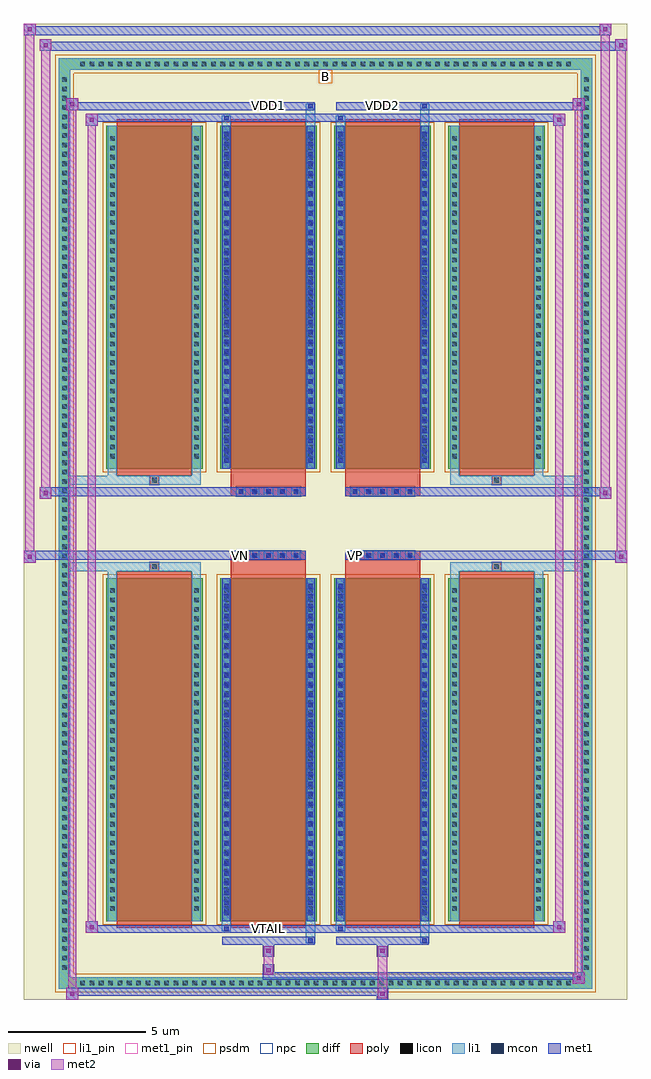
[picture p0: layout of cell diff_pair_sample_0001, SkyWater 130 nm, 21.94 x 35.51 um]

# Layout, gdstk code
import gdstk
lib = gdstk.Library(unit=1e-6, precision=5e-09)
def R(c, l, rs):  # rectangles x0, y0, x1, y1
    for r in rs: c.add(gdstk.rectangle(r[:2], r[2:], *l))
def A(c, l, x, y, w, h, nx, ny, dx, dy):  # array of equal rectangles
    R(c, l, [(x+i*dx, y+j*dy, x+i*dx+w, y+j*dy+h) for i in range(nx) for j in range(ny)])
def P(c, l, *ps):  # polygons
    for p in ps: c.add(gdstk.Polygon(p, *l))
nwell = (64, 20)
diff = (65, 20)
poly = (66, 20)
licon = (66, 44)
li1_pin = (67, 16)
li1 = (67, 20)
mcon = (67, 44)
met1_pin = (68, 16)
met1 = (68, 20)
via = (68, 44)
met2 = (69, 20)
psdm = (94, 20)
npc = (95, 20)

diff_pair_sample_0001 = lib.new_cell('diff_pair_sample_0001')
R(diff_pair_sample_0001, nwell, [(-10.97,-17.32,10.97,18.19), (-8.29,-15.51,-0.01,-0.795), (0.01,-15.51,8.29,-0.795), (-8.29,0.795,-0.01,15.51), (0.01,0.795,8.29,15.51)])
A(diff_pair_sample_0001, diff, -9.045, -16.92, 0.41, 0.41, 53, 2, 0.34, 33.43)
A(diff_pair_sample_0001, diff, -9.7, -16.355, 0.41, 0.41, 1, 96, 0, 0.34)
A(diff_pair_sample_0001, diff, 9.29, -16.355, 0.41, 0.41, 1, 96, 0, 0.34)
A(diff_pair_sample_0001, diff, -7.98, -14.465, 3.51, 12.48, 4, 2, 4.15, 16.45)
R(diff_pair_sample_0001, diff, [(-9.045,-16.92,9.045,-16.51), (-9.7,-16.355,-9.29,16.355), (9.29,-16.355,9.7,16.355), (-9.045,16.51,9.045,16.92)])
P(diff_pair_sample_0001, diff, [(9.7,16.92),(-9.7,16.92),(-9.7,-16.51),(-9.29,-16.51),(-9.29,16.51),(9.29,16.51),(9.29,-16.51),(-9.29,-16.51),(-9.7,-16.51),(-9.7,-16.92),(9.7,-16.92)])
A(diff_pair_sample_0001, poly, -7.59, -14.715, 2.73, 12.98, 4, 2, 4.15, 16.45)
A(diff_pair_sample_0001, poly, -3.24, -1.325, 0.33, 0.33, 5, 2, 0.5, 2.32)
A(diff_pair_sample_0001, poly, 0.91, -1.325, 0.33, 0.33, 5, 2, 0.5, 2.32)
R(diff_pair_sample_0001, poly, [(-6.39,-1.735,-6.06,-1.405), (-6.39,-1.735,-6.06,-1.405), (-3.44,-1.735,-0.71,-1.325), (0.71,-1.735,3.44,-1.325), (6.06,-1.735,6.39,-1.405), (6.06,-1.735,6.39,-1.405), (-3.44,-1.325,-0.71,-0.995), (0.71,-1.325,3.44,-0.995), (-3.44,0.995,-0.71,1.325), (0.71,0.995,3.44,1.325), (-3.44,1.325,-0.71,1.735), (0.71,1.325,3.44,1.735), (-6.39,1.405,-6.06,1.735), (-6.39,1.405,-6.06,1.735), (6.06,1.405,6.39,1.735), (6.06,1.405,6.39,1.735)])
A(diff_pair_sample_0001, licon, -8.925, -16.8, 0.17, 0.17, 53, 2, 0.34, 33.43)
A(diff_pair_sample_0001, licon, -9.58, -16.235, 0.17, 0.17, 1, 96, 0, 0.34)
A(diff_pair_sample_0001, licon, 9.41, -16.235, 0.17, 0.17, 1, 96, 0, 0.34)
A(diff_pair_sample_0001, licon, -7.84, -14.09, 0.17, 0.17, 1, 35, 0, 0.34)
A(diff_pair_sample_0001, licon, -4.78, -14.09, 0.17, 0.17, 1, 35, 0, 0.34)
A(diff_pair_sample_0001, licon, -3.69, -14.09, 0.17, 0.17, 1, 35, 0, 0.34)
A(diff_pair_sample_0001, licon, -0.63, -14.09, 0.17, 0.17, 1, 35, 0, 0.34)
A(diff_pair_sample_0001, licon, 0.46, -14.09, 0.17, 0.17, 1, 35, 0, 0.34)
A(diff_pair_sample_0001, licon, 3.52, -14.09, 0.17, 0.17, 1, 35, 0, 0.34)
A(diff_pair_sample_0001, licon, 4.61, -14.09, 0.17, 0.17, 1, 35, 0, 0.34)
A(diff_pair_sample_0001, licon, 7.67, -14.09, 0.17, 0.17, 1, 35, 0, 0.34)
A(diff_pair_sample_0001, licon, -3.16, -1.245, 0.17, 0.17, 5, 2, 0.5, 2.32)
A(diff_pair_sample_0001, licon, 0.99, -1.245, 0.17, 0.17, 5, 2, 0.5, 2.32)
A(diff_pair_sample_0001, licon, -7.84, 2.36, 0.17, 0.17, 1, 35, 0, 0.34)
A(diff_pair_sample_0001, licon, -4.78, 2.36, 0.17, 0.17, 1, 35, 0, 0.34)
A(diff_pair_sample_0001, licon, -3.69, 2.36, 0.17, 0.17, 1, 35, 0, 0.34)
A(diff_pair_sample_0001, licon, -0.63, 2.36, 0.17, 0.17, 1, 35, 0, 0.34)
A(diff_pair_sample_0001, licon, 0.46, 2.36, 0.17, 0.17, 1, 35, 0, 0.34)
A(diff_pair_sample_0001, licon, 3.52, 2.36, 0.17, 0.17, 1, 35, 0, 0.34)
A(diff_pair_sample_0001, licon, 4.61, 2.36, 0.17, 0.17, 1, 35, 0, 0.34)
A(diff_pair_sample_0001, licon, 7.67, 2.36, 0.17, 0.17, 1, 35, 0, 0.34)
R(diff_pair_sample_0001, licon, [(-6.31,-1.655,-6.14,-1.485), (6.14,-1.655,6.31,-1.485), (-6.31,1.485,-6.14,1.655), (6.14,1.485,6.31,1.655)])
R(diff_pair_sample_0001, li1_pin, [(-0.25,16.01,0.25,16.51)])
A(diff_pair_sample_0001, li1, -9.005, -16.88, 0.33, 0.33, 53, 2, 0.34, 33.43)
A(diff_pair_sample_0001, li1, -9.66, -16.315, 0.33, 0.33, 1, 96, 0, 0.34)
A(diff_pair_sample_0001, li1, 9.33, -16.315, 0.33, 0.33, 1, 96, 0, 0.34)
A(diff_pair_sample_0001, li1, -3.69, -14.25, 0.17, 0.17, 1, 34, 0, 0.36)
A(diff_pair_sample_0001, li1, -0.63, -14.25, 0.17, 0.17, 1, 34, 0, 0.36)
A(diff_pair_sample_0001, li1, 0.46, -14.25, 0.17, 0.17, 1, 34, 0, 0.36)
A(diff_pair_sample_0001, li1, 3.52, -14.25, 0.17, 0.17, 1, 34, 0, 0.36)
A(diff_pair_sample_0001, li1, -7.92, -14.17, 0.33, 0.33, 1, 35, 0, 0.34)
A(diff_pair_sample_0001, li1, -4.86, -14.17, 0.33, 0.33, 1, 35, 0, 0.34)
A(diff_pair_sample_0001, li1, -3.77, -14.17, 0.33, 0.33, 1, 35, 0, 0.34)
A(diff_pair_sample_0001, li1, -0.71, -14.17, 0.33, 0.33, 1, 35, 0, 0.34)
A(diff_pair_sample_0001, li1, 0.38, -14.17, 0.33, 0.33, 1, 35, 0, 0.34)
A(diff_pair_sample_0001, li1, 3.44, -14.17, 0.33, 0.33, 1, 35, 0, 0.34)
A(diff_pair_sample_0001, li1, 4.53, -14.17, 0.33, 0.33, 1, 35, 0, 0.34)
A(diff_pair_sample_0001, li1, 7.59, -14.17, 0.33, 0.33, 1, 35, 0, 0.34)
A(diff_pair_sample_0001, li1, -3.24, -1.325, 0.33, 0.33, 5, 2, 0.5, 2.32)
A(diff_pair_sample_0001, li1, 0.91, -1.325, 0.33, 0.33, 5, 2, 0.5, 2.32)
A(diff_pair_sample_0001, li1, -3.69, 2.2, 0.17, 0.17, 1, 34, 0, 0.36)
A(diff_pair_sample_0001, li1, -0.63, 2.2, 0.17, 0.17, 1, 34, 0, 0.36)
A(diff_pair_sample_0001, li1, 0.46, 2.2, 0.17, 0.17, 1, 34, 0, 0.36)
A(diff_pair_sample_0001, li1, 3.52, 2.2, 0.17, 0.17, 1, 34, 0, 0.36)
A(diff_pair_sample_0001, li1, -7.92, 2.28, 0.33, 0.33, 1, 35, 0, 0.34)
A(diff_pair_sample_0001, li1, -4.86, 2.28, 0.33, 0.33, 1, 35, 0, 0.34)
A(diff_pair_sample_0001, li1, -3.77, 2.28, 0.33, 0.33, 1, 35, 0, 0.34)
A(diff_pair_sample_0001, li1, -0.71, 2.28, 0.33, 0.33, 1, 35, 0, 0.34)
A(diff_pair_sample_0001, li1, 0.38, 2.28, 0.33, 0.33, 1, 35, 0, 0.34)
A(diff_pair_sample_0001, li1, 3.44, 2.28, 0.33, 0.33, 1, 35, 0, 0.34)
A(diff_pair_sample_0001, li1, 4.53, 2.28, 0.33, 0.33, 1, 35, 0, 0.34)
A(diff_pair_sample_0001, li1, 7.59, 2.28, 0.33, 0.33, 1, 35, 0, 0.34)
R(diff_pair_sample_0001, li1, [(-9.7,-16.92,-9.29,-16.51), (-9.7,-16.92,-9.29,-16.51), (-9.29,-16.92,9.29,-16.51), (9.29,-16.92,9.7,-16.51), (9.29,-16.92,9.7,-16.51), (-9.7,-16.51,-9.29,16.51), (9.29,-16.51,9.7,16.51), (-0.71,-15.27,-0.38,-14.465), (-0.63,-15.27,-0.46,-15.1), (3.44,-15.27,3.77,-14.465), (3.52,-15.27,3.69,-15.1), (-3.77,-14.84,-3.44,-14.465), (-3.69,-14.84,-3.52,-14.67), (0.38,-14.84,0.71,-14.465), (0.46,-14.84,0.63,-14.67), (-7.92,-14.465,-7.59,-1.985), (-4.86,-14.465,-4.53,-1.985), (-3.77,-14.465,-3.44,-1.985), (-0.71,-14.465,-0.38,-1.985), (0.38,-14.465,0.71,-1.985), (3.44,-14.465,3.77,-1.985), (4.53,-14.465,4.86,-1.985), (7.59,-14.465,7.92,-1.985), (-3.69,-14.25,-3.52,-2.2), (-0.63,-14.25,-0.46,-2.2), (0.46,-14.25,0.63,-2.2), (3.52,-14.25,3.69,-2.2), (-7.92,-1.985,-7.59,-1.405), (-4.86,-1.985,-4.53,-1.405), (4.53,-1.985,4.86,-1.405), (7.59,-1.985,7.92,-1.405), (-9.7,-1.735,-6.39,-1.405), (-7.92,-1.735,-6.39,-1.405), (-6.39,-1.735,-6.06,-1.405), (-6.06,-1.735,-4.53,-1.405), (4.53,-1.735,6.06,-1.405), (6.06,-1.735,6.39,-1.405), (6.06,-1.735,9.7,-1.405), (6.39,-1.735,7.92,-1.405), (-9.7,1.405,-6.39,1.735), (-7.92,1.405,-6.39,1.735), (-7.92,1.405,-7.59,1.985), (-6.39,1.405,-6.06,1.735), (-6.06,1.405,-4.53,1.735), (-4.86,1.405,-4.53,1.985), (4.53,1.405,6.06,1.735), (4.53,1.405,4.86,1.985), (6.06,1.405,6.39,1.735), (6.06,1.405,9.7,1.735), (6.39,1.405,7.92,1.735), (7.59,1.405,7.92,1.985), (-7.92,1.985,-7.59,14.465), (-4.86,1.985,-4.53,14.465), (-3.77,1.985,-3.44,14.465), (-0.71,1.985,-0.38,14.465), (0.38,1.985,0.71,14.465), (3.44,1.985,3.77,14.465), (4.53,1.985,4.86,14.465), (7.59,1.985,7.92,14.465), (-3.69,2.2,-3.52,14.25), (-0.63,2.2,-0.46,14.25), (0.46,2.2,0.63,14.25), (3.52,2.2,3.69,14.25), (-3.77,14.465,-3.44,14.84), (-0.71,14.465,-0.38,15.27), (0.38,14.465,0.71,14.84), (3.44,14.465,3.77,15.27), (-3.69,14.67,-3.52,14.84), (0.46,14.67,0.63,14.84), (-0.63,15.1,-0.46,15.27), (3.52,15.1,3.69,15.27), (-9.7,16.51,-9.29,16.92), (-9.7,16.51,-9.29,16.92), (-9.29,16.51,9.29,16.92), (9.29,16.51,9.7,16.92), (9.29,16.51,9.7,16.92)])
A(diff_pair_sample_0001, mcon, -3.69, -14.25, 0.17, 0.17, 1, 34, 0, 0.36)
A(diff_pair_sample_0001, mcon, -0.63, -14.25, 0.17, 0.17, 1, 34, 0, 0.36)
A(diff_pair_sample_0001, mcon, 0.46, -14.25, 0.17, 0.17, 1, 34, 0, 0.36)
A(diff_pair_sample_0001, mcon, 3.52, -14.25, 0.17, 0.17, 1, 34, 0, 0.36)
A(diff_pair_sample_0001, mcon, -3.16, -1.245, 0.17, 0.17, 5, 2, 0.5, 2.32)
A(diff_pair_sample_0001, mcon, 0.99, -1.245, 0.17, 0.17, 5, 2, 0.5, 2.32)
A(diff_pair_sample_0001, mcon, -3.69, 2.2, 0.17, 0.17, 1, 34, 0, 0.36)
A(diff_pair_sample_0001, mcon, -0.63, 2.2, 0.17, 0.17, 1, 34, 0, 0.36)
A(diff_pair_sample_0001, mcon, 0.46, 2.2, 0.17, 0.17, 1, 34, 0, 0.36)
A(diff_pair_sample_0001, mcon, 3.52, 2.2, 0.17, 0.17, 1, 34, 0, 0.36)
R(diff_pair_sample_0001, mcon, [(-0.63,-15.27,-0.46,-15.1), (3.52,-15.27,3.69,-15.1), (-3.69,-14.84,-3.52,-14.67), (0.46,-14.84,0.63,-14.67), (-3.69,14.67,-3.52,14.84), (0.46,14.67,0.63,14.84), (-0.63,15.1,-0.46,15.27), (3.52,15.1,3.69,15.27)])
R(diff_pair_sample_0001, met1_pin, [(-2.21,-14.88,-1.94,-14.61), (-3.21,-1.285,-2.94,-1.015), (0.94,-1.285,1.21,-1.015), (-2.21,15.06,-1.94,15.33), (1.94,15.06,2.21,15.33)])
A(diff_pair_sample_0001, met1, -3.75, -14.31, 0.29, 0.29, 1, 34, 0, 0.36)
A(diff_pair_sample_0001, met1, -0.69, -14.31, 0.29, 0.29, 1, 34, 0, 0.36)
A(diff_pair_sample_0001, met1, 0.4, -14.31, 0.29, 0.29, 1, 34, 0, 0.36)
A(diff_pair_sample_0001, met1, 3.46, -14.31, 0.29, 0.29, 1, 34, 0, 0.36)
A(diff_pair_sample_0001, met1, -3.22, -1.305, 0.29, 0.29, 5, 2, 0.5, 2.32)
A(diff_pair_sample_0001, met1, 0.93, -1.305, 0.29, 0.29, 5, 2, 0.5, 2.32)
A(diff_pair_sample_0001, met1, -3.75, 2.14, 0.29, 0.29, 1, 34, 0, 0.36)
A(diff_pair_sample_0001, met1, -0.69, 2.14, 0.29, 0.29, 1, 34, 0, 0.36)
A(diff_pair_sample_0001, met1, 0.4, 2.14, 0.29, 0.29, 1, 34, 0, 0.36)
A(diff_pair_sample_0001, met1, 3.46, 2.14, 0.29, 0.29, 1, 34, 0, 0.36)
R(diff_pair_sample_0001, met1, [(-9.43,-17.32,-9,-16.89), (1.86,-17.32,2.29,-16.89), (-9.43,-17.18,2.29,-16.89), (9,-16.75,9.43,-16.32), (-2.29,-16.61,9.43,-16.32), (-2.29,-16.47,-1.86,-16.04), (-2.29,-15.76,-1.86,-15.33), (1.86,-15.76,2.29,-15.33), (-3.75,-15.33,-0.4,-15.04), (-0.69,-15.33,-0.4,-15.04), (0.4,-15.33,3.75,-15.04), (3.46,-15.33,3.75,-15.04), (-8.72,-14.9,-8.29,-14.47), (-8.72,-14.9,-3.75,-14.61), (-3.75,-14.9,-3.46,-14.61), (-3.75,-14.9,-0.4,-14.61), (-0.4,-14.9,0.4,-14.61), (0.4,-14.9,0.69,-14.61), (0.4,-14.9,3.75,-14.61), (3.75,-14.9,8.72,-14.61), (8.29,-14.9,8.72,-14.47), (-3.75,-14.465,-3.46,-1.985), (-0.69,-14.465,-0.4,-1.985), (0.4,-14.465,0.69,-1.985), (3.46,-14.465,3.75,-1.985), (-10.97,-1.425,-10.54,-0.995), (10.54,-1.425,10.97,-0.995), (-10.97,-1.325,-0.71,-0.995), (-3.44,-1.325,-0.71,-0.995), (0.71,-1.325,3.44,-0.995), (0.71,-1.325,10.97,-0.995), (-10.4,0.895,-9.97,1.325), (9.97,0.895,10.4,1.325), (-10.4,0.995,-3.44,1.325), (-3.44,0.995,-0.71,1.325), (0.71,0.995,3.44,1.325), (3.44,0.995,10.4,1.325), (-3.75,1.985,-3.46,14.465), (-0.69,1.985,-0.4,14.465), (0.4,1.985,0.69,14.465), (3.46,1.985,3.75,14.465), (-8.72,14.47,-8.29,14.9), (8.29,14.47,8.72,14.9), (-8.72,14.61,-3.75,14.9), (-3.75,14.61,-3.46,14.9), (-3.75,14.61,-0.4,14.9), (-0.4,14.61,0.4,14.9), (0.4,14.61,0.69,14.9), (0.4,14.61,3.75,14.9), (3.75,14.61,8.72,14.9), (-9.43,15.04,-9,15.47), (-9.43,15.04,-3.75,15.33), (-3.75,15.04,-0.4,15.33), (-0.69,15.04,-0.4,15.33), (0.4,15.04,3.75,15.33), (3.46,15.04,3.75,15.33), (3.75,15.04,9.43,15.33), (9,15.04,9.43,15.47), (-10.4,17.19,-9.97,17.62), (-10.4,17.19,-8.29,17.52), (-8.29,17.19,8.29,17.52), (8.29,17.19,10.97,17.52), (10.54,17.19,10.97,17.62), (-10.97,17.76,-10.54,18.19), (-10.97,17.76,-8.29,18.09), (-8.29,17.76,8.29,18.09), (8.29,17.76,10.4,18.09), (9.97,17.76,10.4,18.19)])
R(diff_pair_sample_0001, via, [(-9.29,-17.18,-9.14,-17.03), (2,-17.18,2.15,-17.03), (9.14,-16.61,9.29,-16.46), (-2.15,-16.33,-2,-16.18), (-2.15,-15.62,-2,-15.47), (2,-15.62,2.15,-15.47), (-8.58,-14.76,-8.43,-14.61), (8.43,-14.76,8.58,-14.61), (-10.83,-1.285,-10.68,-1.135), (10.68,-1.285,10.83,-1.135), (-10.26,1.035,-10.11,1.185), (10.11,1.035,10.26,1.185), (-8.58,14.61,-8.43,14.76), (8.43,14.61,8.58,14.76), (-9.29,15.18,-9.14,15.33), (9.14,15.18,9.29,15.33), (-10.26,17.33,-10.11,17.48), (10.68,17.33,10.83,17.48), (-10.83,17.9,-10.68,18.05), (10.11,17.9,10.26,18.05)])
R(diff_pair_sample_0001, met2, [(-9.43,-17.32,-9,-16.89), (-9.36,-17.32,-9.07,15.47), (-9.07,-17.32,-9,-16.89), (-9.38,-17.27,-9.05,-16.94), (1.91,-17.27,2.24,-16.94), (1.91,-16.94,2.24,-15.71), (9,-16.75,9.43,-16.32), (9.07,-16.75,9.36,15.47), (9.36,-16.75,9.43,-16.32), (9.05,-16.7,9.38,-16.37), (-2.24,-16.42,-1.91,-16.09), (-2.24,-16.09,-1.91,-15.71), (-2.24,-15.71,-1.91,-15.38), (1.91,-15.71,2.24,-15.38), (-8.72,-14.9,-8.29,-14.47), (-8.65,-14.9,-8.36,14.9), (-8.36,-14.9,-8.29,-14.47), (8.29,-14.9,8.72,-14.47), (8.36,-14.9,8.65,14.9), (8.65,-14.9,8.72,-14.47), (-8.67,-14.85,-8.34,-14.52), (8.34,-14.85,8.67,-14.52), (-10.97,-1.425,-10.54,-0.995), (-10.92,-1.425,-10.59,18.19), (-10.59,-1.425,-10.54,-0.995), (10.54,-1.425,10.97,-0.995), (10.59,-1.425,10.92,17.62), (10.92,-1.425,10.97,-0.995), (-10.92,-1.375,-10.59,-1.045), (10.59,-1.375,10.92,-1.045), (-10.4,0.895,-9.97,1.325), (-10.35,0.895,-10.02,17.62), (-10.02,0.895,-9.97,1.325), (9.97,0.895,10.4,1.325), (10.02,0.895,10.35,18.19), (10.35,0.895,10.4,1.325), (-10.35,0.945,-10.02,1.275), (10.02,0.945,10.35,1.275), (-8.72,14.47,-8.29,14.9), (-8.36,14.47,-8.29,14.9), (8.29,14.47,8.72,14.9), (8.65,14.47,8.72,14.9), (-8.67,14.52,-8.34,14.85), (8.34,14.52,8.67,14.85), (-9.43,15.04,-9,15.47), (-9.07,15.04,-9,15.47), (9,15.04,9.43,15.47), (9.36,15.04,9.43,15.47), (-9.38,15.09,-9.05,15.42), (9.05,15.09,9.38,15.42), (-10.4,17.19,-9.97,17.62), (-10.02,17.19,-9.97,17.62), (10.54,17.19,10.97,17.62), (10.92,17.19,10.97,17.62), (-10.35,17.24,-10.02,17.57), (10.59,17.24,10.92,17.57), (-10.97,17.76,-10.54,18.19), (-10.59,17.76,-10.54,18.19), (9.97,17.76,10.4,18.19), (10.35,17.76,10.4,18.19), (-10.92,17.81,-10.59,18.14), (10.02,17.81,10.35,18.14)])
A(diff_pair_sample_0001, psdm, -8.11, -14.595, 3.77, 12.74, 4, 2, 4.15, 16.45)
P(diff_pair_sample_0001, psdm, [(9.83,17.05),(-9.83,17.05),(-9.83,-16.38),(-9.16,-16.38),(-9.16,16.38),(9.16,16.38),(9.16,-16.38),(-9.16,-16.38),(-9.83,-16.38),(-9.83,-17.05),(9.83,-17.05)])
A(diff_pair_sample_0001, npc, -3.26, -1.345, 0.37, 0.37, 5, 2, 0.5, 2.32)
A(diff_pair_sample_0001, npc, 0.89, -1.345, 0.37, 0.37, 5, 2, 0.5, 2.32)
R(diff_pair_sample_0001, npc, [(-6.41,-1.755,-6.04,-1.385), (6.04,-1.755,6.41,-1.385), (-3.26,-1.345,-2.39,-0.975), (-3.26,-1.345,-2.39,-0.975), (-2.76,-1.345,-1.89,-0.975), (-2.76,-1.345,-1.89,-0.975), (-2.26,-1.345,-1.39,-0.975), (-2.26,-1.345,-1.39,-0.975), (-1.76,-1.345,-0.89,-0.975), (-1.76,-1.345,-0.89,-0.975), (0.89,-1.345,1.76,-0.975), (0.89,-1.345,1.76,-0.975), (1.39,-1.345,2.26,-0.975), (1.39,-1.345,2.26,-0.975), (1.89,-1.345,2.76,-0.975), (1.89,-1.345,2.76,-0.975), (2.39,-1.345,3.26,-0.975), (2.39,-1.345,3.26,-0.975), (-3.26,0.975,-2.39,1.345), (-3.26,0.975,-2.39,1.345), (-2.76,0.975,-1.89,1.345), (-2.76,0.975,-1.89,1.345), (-2.26,0.975,-1.39,1.345), (-2.26,0.975,-1.39,1.345), (-1.76,0.975,-0.89,1.345), (-1.76,0.975,-0.89,1.345), (0.89,0.975,1.76,1.345), (0.89,0.975,1.76,1.345), (1.39,0.975,2.26,1.345), (1.39,0.975,2.26,1.345), (1.89,0.975,2.76,1.345), (1.89,0.975,2.76,1.345), (2.39,0.975,3.26,1.345), (2.39,0.975,3.26,1.345), (-6.41,1.385,-6.04,1.755), (6.04,1.385,6.41,1.755)])
diff_pair_sample_0001.add(gdstk.Label('VTAIL', (-2.075,-14.745), layer=68, texttype=5))
diff_pair_sample_0001.add(gdstk.Label('VN', (-3.075,-1.15), layer=68, texttype=5))
diff_pair_sample_0001.add(gdstk.Label('VP', (1.075,-1.15), layer=68, texttype=5))
diff_pair_sample_0001.add(gdstk.Label('B', (0,16.26), layer=67, texttype=5))
diff_pair_sample_0001.add(gdstk.Label('VDD2', (2.075,15.195), layer=68, texttype=5))
diff_pair_sample_0001.add(gdstk.Label('VDD1', (-2.075,15.195), layer=68, texttype=5))

lib.write_gds('diff_pair_sample_0001.gds')
